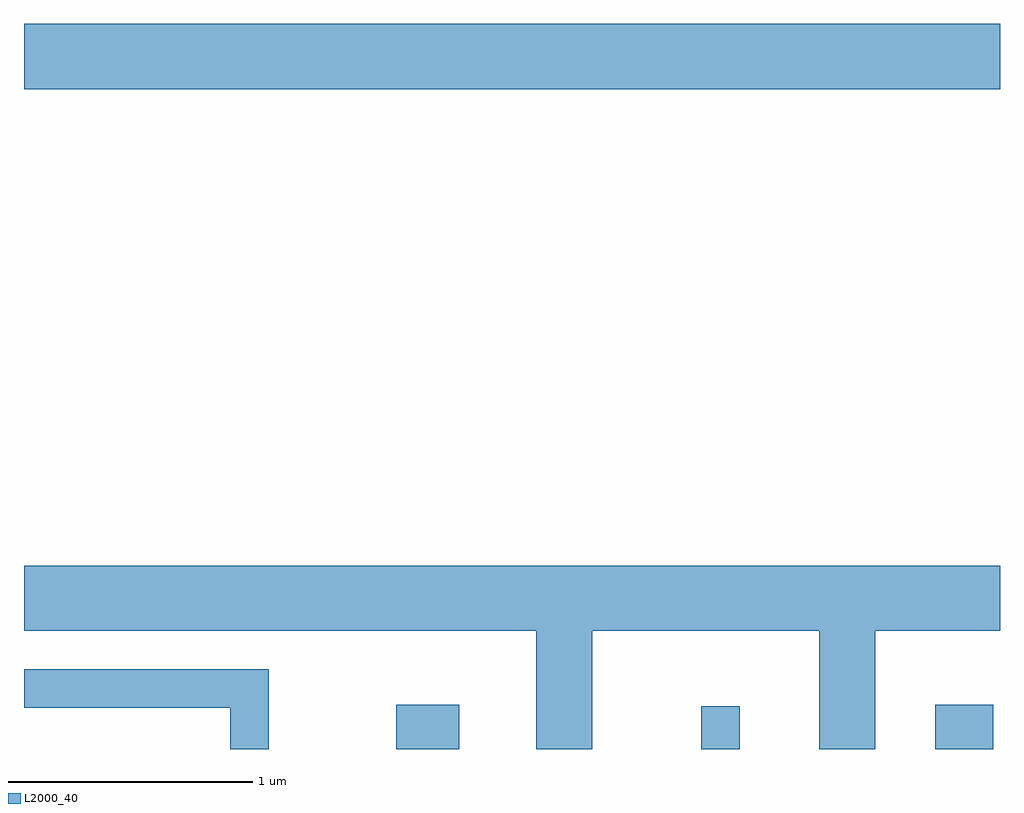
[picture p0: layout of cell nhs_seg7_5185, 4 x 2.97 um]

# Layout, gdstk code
import gdstk
lib = gdstk.Library(unit=1e-6, precision=1e-09)
def R(c, l, rs):  # rectangles x0, y0, x1, y1
    for r in rs: c.add(gdstk.rectangle(r[:2], r[2:], *l))
def P(c, l, *ps):  # polygons
    for p in ps: c.add(gdstk.Polygon(p, *l))
L2000_40 = (2000, 40)

nhs_seg7_5185 = lib.new_cell('nhs_seg7_5185')
R(nhs_seg7_5185, L2000_40, [(345.136,1738.252,345.394,1738.434), (346.386,1738.252,346.544,1738.428), (347.346,1738.252,347.584,1738.434), (343.611,1740.956,347.611,1741.224)])
P(nhs_seg7_5185, L2000_40, [(345.939,1738.736),(346.871,1738.736),(346.871,1738.252),(347.099,1738.252),(347.099,1738.736),(347.611,1738.736),(347.611,1739.004),(343.611,1739.004),(343.611,1738.736),(345.711,1738.736),(345.711,1738.252),(345.939,1738.252)],
  [(344.614,1738.579),(343.611,1738.579),(343.611,1738.421),(344.456,1738.421),(344.456,1738.252),(344.614,1738.252)])

lib.write_gds('nhs_seg7_5185.gds')
